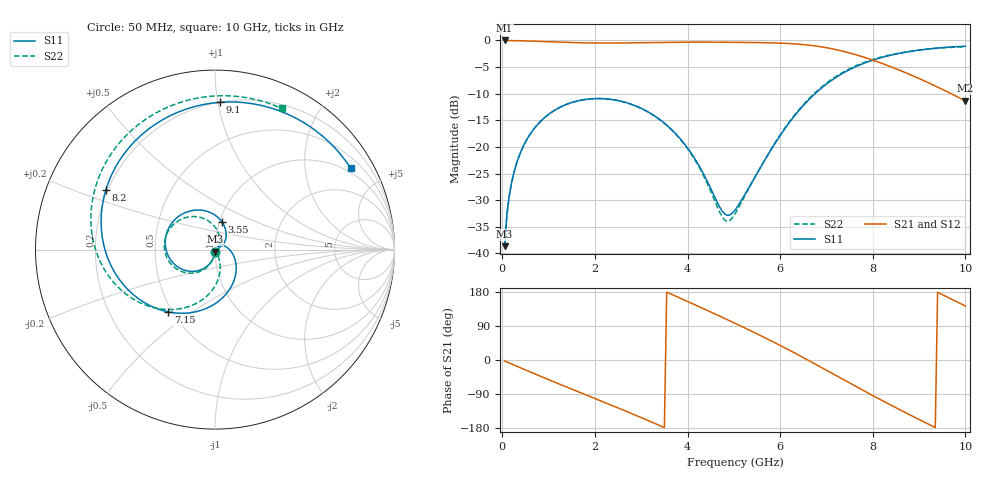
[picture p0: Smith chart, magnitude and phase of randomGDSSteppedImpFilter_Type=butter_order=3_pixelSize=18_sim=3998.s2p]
! freq	dB(S11)	phase(S11)	dB(S12)	phase(S12)
!  dB(S21)	phase(S21)	dB(S22)	phase(S22)
!S-par simulation data
#  GHz  S  DB  R 50
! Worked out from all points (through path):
!   200 points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, 50 MHz to 10 GHz, reference 50 ohm
!   highest |S21| = -0.01 dB at 50 MHz (marker M1); lowest = -11.3 dB at 10 GHz (marker M2)
!   group delay of S21, straight-line fit = 162 ps
!   lowest |S11| = -38.7 dB at 50 MHz (marker M3), VSWR 1.02, Z = 49.9 - j1.17 ohm
!   |S11| at or under -10 dB: start of sweep to 6.754 GHz
!   |S22| runs from -38.6 to -1.2 dB; largest |S21 - S12| = 0
!   S11 on the Smith chart (normalised r, x): 50 MHz: 1.00, -0.02; 3.55 GHz: 1.02, +0.33; 7.15 GHz: 0.48, -0.41; 8.2 GHz: 0.19, +0.25; 9.1 GHz: 0.20, +1.02; 10 GHz: 0.84, +3.43
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0.05  -38.65 -92.3  -0.01 -2.7  -0.01 -2.7  -38.65 -92.1
0.1  -32.69 -95.3  -0.01 -5.3  -0.01 -5.3  -32.68 -94.8
0.2  -26.75 -101.2  -0.03 -10.6  -0.03 -10.6  -26.75 -100.2
0.5  -19.09 -118.0  -0.09 -26.2  -0.09 -26.2  -19.08 -115.5
1.15  -13.01 -153.0  -0.29 -59.4  -0.29 -59.4  -13.01 -147.1
1.75  -11.14 175.4  -0.45 -89.2  -0.45 -89.2  -11.15 -175.2
2.55  -11.39 132.8  -0.48 -129.0  -0.48 -129.0  -11.40 148.0
3.4  -14.85 85.2  -0.36 -173.0  -0.36 -173.0  -14.89 108.4
3.55  -15.90 76.5  -0.35 179.0  -0.35 179.0  -15.95 101.3
4.15  -22.11 42.4  -0.31 146.2  -0.31 146.2  -22.29 71.3
4.8  -32.58 39.0  -0.34 109.8  -0.34 109.8  -33.73 0.0
5.05  -31.58 51.5  -0.35 95.5  -0.35 95.5  -32.22 -45.6
5.5  -25.00 21.4  -0.40 69.1  -0.40 69.1  -24.99 -66.8
6  -17.87 -27.9  -0.50 38.5  -0.50 38.5  -17.73 -77.9
6.7  -10.44 -89.5  -0.97 -7.0  -0.97 -7.0  -10.26 -107.4
7.15  -7.26 -126.7  -1.62 -37.3  -1.62 -37.3  -7.08 -131.3
7.65  -4.86 -166.6  -2.73 -70.9  -2.73 -70.9  -4.70 -159.4
8.2  -3.19 151.5  -4.32 -106.8  -4.32 -106.8  -3.08 169.5
8.35  -2.85 140.4  -4.81 -116.4  -4.81 -116.4  -2.76 161.1
9.1  -1.71 88.0  -7.55 -163.1  -7.55 -163.1  -1.71 118.7
9.55  -1.32 58.7  -9.40 169.6  -9.40 169.6  -1.37 92.5
10  -1.09 30.8  -11.35 142.4  -11.35 142.4  -1.21 64.7
